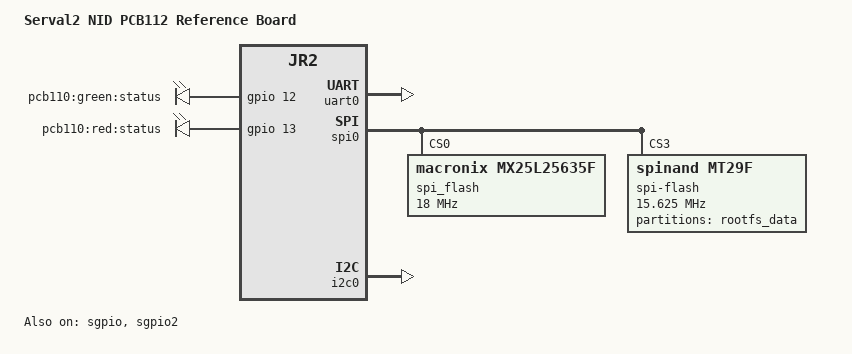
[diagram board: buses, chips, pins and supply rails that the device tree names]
// SPDX-License-Identifier: (GPL-2.0+ OR MIT)
/*
 * Copyright (c) 2018 Microsemi Corporation
 */

/dts-v1/;
#include "jaguar2.dtsi"

/ {
	model = "Serval2 NID PCB112 Reference Board";
	compatible = "mscc,serval2-pcb112", "mscc,jr2";

	aliases {
		spi0 = &spi0;
		serial0 = &uart0;
	};

	chosen {
		stdout-path = "serial0:115200n8";
	};

	gpio-leds {
		compatible = "gpio-leds";

		status_green {
			label = "pcb110:green:status";
                        gpios = <&gpio 12 0>;
                        default-state = "on";
		};

		status_red {
			label = "pcb110:red:status";
			gpios = <&gpio 13 0>;
                        default-state = "off";
		};
	};
};

&uart0 {
	status = "okay";
};

&spi0 {
	status = "okay";
	spi-flash@0 {
		label = "spi_flash";
		compatible = "macronix,mx25l25635f", "jedec,spi-nor";
		spi-max-frequency = <18000000>; /* input clock */
		reg = <0>; /* CS0 */
	};
	spi-flash@3 {
		compatible = "spinand,mt29f";
		pinctrl-0 = <&cs3_pins>;
		pinctrl-names = "default";
		spi-max-frequency = <15625000>;
		reg = <3>; /* CS3 */
		partitions {
			compatible = "fixed-partitions";
			#address-cells = <1>;
			#size-cells = <1>;
			/* 256MiB */
			partition@0 {
				    label = "rootfs_data";
				    reg = <0x0000000 0x10000000>;
			};
		};
	};
};

&i2c0 {
	status = "okay";
	i2c-sda-hold-time-ns = <300>;
};

&sgpio {
	status = "okay";
	sgpio-ports = <0x0000ffff>;
};

&sgpio2 {
	status = "okay";
	sgpio-ports = <0x3f00ffff>;
};
